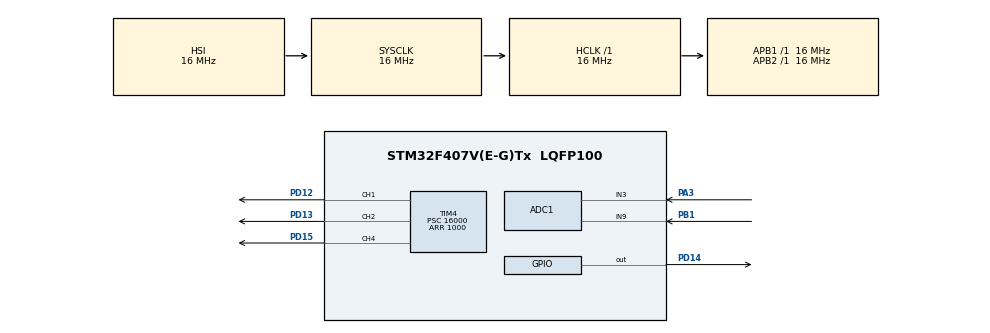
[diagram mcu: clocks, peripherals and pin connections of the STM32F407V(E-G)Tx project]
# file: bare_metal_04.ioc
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ADC1.Channel-0\#ChannelRegularConversion=ADC_CHANNEL_3
ADC1.Channel-5\#ChannelRegularConversion=ADC_CHANNEL_9
ADC1.Channel-6\#ChannelRegularConversion=ADC_CHANNEL_TEMPSENSOR
ADC1.ClockPrescaler=ADC_CLOCK_SYNC_PCLK_DIV8
ADC1.ContinuousConvMode=ENABLE
ADC1.DMAContinuousRequests=ENABLE
ADC1.EOCSelection=ADC_EOC_SEQ_CONV
ADC1.NbrOfConversion=3
ADC1.NbrOfConversionFlag=1
ADC1.Rank-0\#ChannelRegularConversion=1
ADC1.Rank-5\#ChannelRegularConversion=2
ADC1.Rank-6\#ChannelRegularConversion=3
ADC1.SamplingTime-0\#ChannelRegularConversion=ADC_SAMPLETIME_480CYCLES
ADC1.SamplingTime-5\#ChannelRegularConversion=ADC_SAMPLETIME_480CYCLES
ADC1.SamplingTime-6\#ChannelRegularConversion=ADC_SAMPLETIME_480CYCLES
ADC1.master=1
Dma.ADC1.0.Direction=DMA_PERIPH_TO_MEMORY
Dma.ADC1.0.FIFOMode=DMA_FIFOMODE_DISABLE
Dma.ADC1.0.Instance=DMA2_Stream0
Dma.ADC1.0.MemDataAlignment=DMA_MDATAALIGN_WORD
Dma.ADC1.0.MemInc=DMA_MINC_ENABLE
Dma.ADC1.0.Mode=DMA_CIRCULAR
Dma.ADC1.0.PeriphDataAlignment=DMA_PDATAALIGN_WORD
Dma.ADC1.0.PeriphInc=DMA_PINC_DISABLE
Dma.ADC1.0.Priority=DMA_PRIORITY_LOW
Dma.Request0=ADC1
Mcu.Family=STM32F4
Mcu.Name=STM32F407V(E-G)Tx
Mcu.Package=LQFP100
NVIC.ADC_IRQn=true\:0\:0\:false\:false\:true\:true\:true\:true
NVIC.DMA2_Stream0_IRQn=true\:0\:0\:false\:false\:true\:false\:true\:true
NVIC.PriorityGroup=NVIC_PRIORITYGROUP_4
PA3.Signal=ADCx_IN3
PB1.Signal=ADCx_IN9
PD12.Signal=S_TIM4_CH1
PD13.Signal=S_TIM4_CH2
PD14.Signal=GPIO_Output
PD15.Signal=S_TIM4_CH4
ProjectManager.HeapSize=0x200
ProjectManager.StackSize=0x400
ProjectManager.TargetToolchain=STM32CubeIDE
RCC.AHBFreq_Value=16000000
RCC.APB1Freq_Value=16000000
RCC.APB2Freq_Value=16000000
RCC.CortexFreq_Value=16000000
RCC.HSE_VALUE=25000000
RCC.HSI_VALUE=16000000
RCC.LSE_VALUE=32768
RCC.SYSCLKFreq_VALUE=16000000
RCC.VCOOutputFreq_Value=192000000
SH.ADCx_IN3.0=ADC1_IN3,IN3
SH.ADCx_IN9.0=ADC1_IN9,IN9
SH.S_TIM4_CH1.0=TIM4_CH1,PWM Generation1 CH1
SH.S_TIM4_CH2.0=TIM4_CH2,PWM Generation2 CH2
SH.S_TIM4_CH4.0=TIM4_CH4,PWM Generation4 CH4
TIM4.AutoReloadPreload=TIM_AUTORELOAD_PRELOAD_ENABLE
TIM4.Channel-PWM\ Generation1\ CH1=TIM_CHANNEL_1
TIM4.Channel-PWM\ Generation2\ CH2=TIM_CHANNEL_2
TIM4.Channel-PWM\ Generation4\ CH4=TIM_CHANNEL_4
TIM4.Period=1000
TIM4.Prescaler=16000
VP_ADC1_TempSens_Input.Mode=IN-TempSens
VP_TIM4_VS_ClockSourceINT.Mode=Internal
board=custom

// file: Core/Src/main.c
/* USER CODE BEGIN Header */
/**
  ******************************************************************************
  * @file           : main.c
  * @brief          : Main program body
  ******************************************************************************
  * @attention
  *
  * Copyright (c) 2023 STMicroelectronics.
  * All rights reserved.
  *
  * This software is licensed under terms that can be found in the LICENSE file
  * in the root directory of this software component.
  * If no LICENSE file comes with this software, it is provided AS-IS.
  *
  ******************************************************************************
  */
/* USER CODE END Header */
#include "main.h"

/* USER CODE BEGIN Includes */
#include "app_data.h"
/* USER CODE END Includes */

ADC_HandleTypeDef hadc1;
DMA_HandleTypeDef hdma_adc1;

TIM_HandleTypeDef htim4;

void SystemClock_Config(void);
static void MX_GPIO_Init(void);
static void MX_DMA_Init(void);
static void MX_ADC1_Init(void);
static void MX_TIM4_Init(void);
/* USER CODE BEGIN PFP */
static void HandleRedLed(uint32_t emergencies_amnt, const uint32_t* states);
/* USER CODE END PFP */

int main(void)
{

  /* MCU Configuration--------------------------------------------------------*/

  /* Reset of all peripherals, Initializes the Flash interface and the Systick. */
  HAL_Init();

  /* Configure the system clock */
  SystemClock_Config();

  /* Initialize all configured peripherals */
  MX_GPIO_Init();
  MX_DMA_Init();
  MX_ADC1_Init();
  MX_TIM4_Init();

  /* Infinite loop */
  /* USER CODE BEGIN WHILE */
  HAL_TIM_PWM_Start(&htim4, TIM_CHANNEL_1);
  HAL_TIM_PWM_Start(&htim4, TIM_CHANNEL_2);
  HAL_TIM_PWM_Start(&htim4, TIM_CHANNEL_4);
  HAL_ADC_Start_DMA(&hadc1, (uint32_t*)adc_values, adc_values_amount);

  while (1)
  {
	  HandleRedLed(current_emergencies_amnt, red_led_freq_states);
    /* USER CODE END WHILE */

  }
}

void SystemClock_Config(void)
{
  RCC_OscInitTypeDef RCC_OscInitStruct = {0};
  RCC_ClkInitTypeDef RCC_ClkInitStruct = {0};

  /** Configure the main internal regulator output voltage
  */
  __HAL_RCC_PWR_CLK_ENABLE();
  __HAL_PWR_VOLTAGESCALING_CONFIG(PWR_REGULATOR_VOLTAGE_SCALE1);

  /** Initializes the RCC Oscillators according to the specified parameters
  * in the RCC_OscInitTypeDef structure.
  */
  RCC_OscInitStruct.OscillatorType = RCC_OSCILLATORTYPE_HSI;
  RCC_OscInitStruct.HSIState = RCC_HSI_ON;
  RCC_OscInitStruct.HSICalibrationValue = RCC_HSICALIBRATION_DEFAULT;
  RCC_OscInitStruct.PLL.PLLState = RCC_PLL_NONE;
  if (HAL_RCC_OscConfig(&RCC_OscInitStruct) != HAL_OK)
  {
    Error_Handler();
  }

  /** Initializes the CPU, AHB and APB buses clocks
  */
  RCC_ClkInitStruct.ClockType = RCC_CLOCKTYPE_HCLK|RCC_CLOCKTYPE_SYSCLK
                              |RCC_CLOCKTYPE_PCLK1|RCC_CLOCKTYPE_PCLK2;
  RCC_ClkInitStruct.SYSCLKSource = RCC_SYSCLKSOURCE_HSI;
  RCC_ClkInitStruct.AHBCLKDivider = RCC_SYSCLK_DIV1;
  RCC_ClkInitStruct.APB1CLKDivider = RCC_HCLK_DIV1;
  RCC_ClkInitStruct.APB2CLKDivider = RCC_HCLK_DIV1;

  if (HAL_RCC_ClockConfig(&RCC_ClkInitStruct, FLASH_LATENCY_0) != HAL_OK)
  {
    Error_Handler();
  }
}

static void MX_ADC1_Init(void)
{

  ADC_ChannelConfTypeDef sConfig = {0};

  /** Configure the global features of the ADC (Clock, Resolution, Data Alignment and number of conversion)
  */
  hadc1.Instance = ADC1;
  hadc1.Init.ClockPrescaler = ADC_CLOCK_SYNC_PCLK_DIV8;
  hadc1.Init.Resolution = ADC_RESOLUTION_12B;
  hadc1.Init.ScanConvMode = ENABLE;
  hadc1.Init.ContinuousConvMode = ENABLE;
  hadc1.Init.DiscontinuousConvMode = DISABLE;
  hadc1.Init.ExternalTrigConvEdge = ADC_EXTERNALTRIGCONVEDGE_NONE;
  hadc1.Init.ExternalTrigConv = ADC_SOFTWARE_START;
  hadc1.Init.DataAlign = ADC_DATAALIGN_RIGHT;
  hadc1.Init.NbrOfConversion = 3;
  hadc1.Init.DMAContinuousRequests = ENABLE;
  hadc1.Init.EOCSelection = ADC_EOC_SEQ_CONV;
  if (HAL_ADC_Init(&hadc1) != HAL_OK)
  {
    Error_Handler();
  }

  /** Configure for the selected ADC regular channel its corresponding rank in the sequencer and its sample time.
  */
  sConfig.Channel = ADC_CHANNEL_3;
  sConfig.Rank = 1;
  sConfig.SamplingTime = ADC_SAMPLETIME_480CYCLES;
  if (HAL_ADC_ConfigChannel(&hadc1, &sConfig) != HAL_OK)
  {
    Error_Handler();
  }

  /** Configure for the selected ADC regular channel its corresponding rank in the sequencer and its sample time.
  */
  sConfig.Channel = ADC_CHANNEL_9;
  sConfig.Rank = 2;
  if (HAL_ADC_ConfigChannel(&hadc1, &sConfig) != HAL_OK)
  {
    Error_Handler();
  }

  /** Configure for the selected ADC regular channel its corresponding rank in the sequencer and its sample time.
  */
  sConfig.Channel = ADC_CHANNEL_TEMPSENSOR;
  sConfig.Rank = 3;
  if (HAL_ADC_ConfigChannel(&hadc1, &sConfig) != HAL_OK)
  {
    Error_Handler();
  }

}

static void MX_TIM4_Init(void)
{

  TIM_ClockConfigTypeDef sClockSourceConfig = {0};
  TIM_MasterConfigTypeDef sMasterConfig = {0};
  TIM_OC_InitTypeDef sConfigOC = {0};

  htim4.Instance = TIM4;
  htim4.Init.Prescaler = 16000;
  htim4.Init.CounterMode = TIM_COUNTERMODE_UP;
  htim4.Init.Period = 1000;
  htim4.Init.ClockDivision = TIM_CLOCKDIVISION_DIV1;
  htim4.Init.AutoReloadPreload = TIM_AUTORELOAD_PRELOAD_ENABLE;
  if (HAL_TIM_Base_Init(&htim4) != HAL_OK)
  {
    Error_Handler();
  }
  sClockSourceConfig.ClockSource = TIM_CLOCKSOURCE_INTERNAL;
  if (HAL_TIM_ConfigClockSource(&htim4, &sClockSourceConfig) != HAL_OK)
  {
    Error_Handler();
  }
  if (HAL_TIM_PWM_Init(&htim4) != HAL_OK)
  {
    Error_Handler();
  }
  sMasterConfig.MasterOutputTrigger = TIM_TRGO_RESET;
  sMasterConfig.MasterSlaveMode = TIM_MASTERSLAVEMODE_DISABLE;
  if (HAL_TIMEx_MasterConfigSynchronization(&htim4, &sMasterConfig) != HAL_OK)
  {
    Error_Handler();
  }
  sConfigOC.OCMode = TIM_OCMODE_PWM1;
  sConfigOC.Pulse = 0;
  sConfigOC.OCPolarity = TIM_OCPOLARITY_HIGH;
  sConfigOC.OCFastMode = TIM_OCFAST_DISABLE;
  if (HAL_TIM_PWM_ConfigChannel(&htim4, &sConfigOC, TIM_CHANNEL_1) != HAL_OK)
  {
    Error_Handler();
  }
  if (HAL_TIM_PWM_ConfigChannel(&htim4, &sConfigOC, TIM_CHANNEL_2) != HAL_OK)
  {
    Error_Handler();
  }
  if (HAL_TIM_PWM_ConfigChannel(&htim4, &sConfigOC, TIM_CHANNEL_4) != HAL_OK)
  {
    Error_Handler();
  }
  HAL_TIM_MspPostInit(&htim4);

}

static void MX_DMA_Init(void)
{

  /* DMA controller clock enable */
  __HAL_RCC_DMA2_CLK_ENABLE();

  /* DMA interrupt init */
  /* DMA2_Stream0_IRQn interrupt configuration */
  HAL_NVIC_SetPriority(DMA2_Stream0_IRQn, 0, 0);
  HAL_NVIC_EnableIRQ(DMA2_Stream0_IRQn);

}

static void MX_GPIO_Init(void)
{
  GPIO_InitTypeDef GPIO_InitStruct = {0};

  /* GPIO Ports Clock Enable */
  __HAL_RCC_GPIOA_CLK_ENABLE();
  __HAL_RCC_GPIOB_CLK_ENABLE();
  __HAL_RCC_GPIOD_CLK_ENABLE();

  /*Configure GPIO pin Output Level */
  HAL_GPIO_WritePin(GPIOD, GPIO_PIN_14, GPIO_PIN_RESET);

  /*Configure GPIO pin : PD14 */
  GPIO_InitStruct.Pin = GPIO_PIN_14;
  GPIO_InitStruct.Mode = GPIO_MODE_OUTPUT_PP;
  GPIO_InitStruct.Pull = GPIO_NOPULL;
  GPIO_InitStruct.Speed = GPIO_SPEED_FREQ_LOW;
  HAL_GPIO_Init(GPIOD, &GPIO_InitStruct);

}

/* USER CODE BEGIN 4 */
void HAL_ADC_ConvCpltCallback(ADC_HandleTypeDef* hadc) {
	UpdateEmergencies((uint32_t*) adc_values, (Emergencies*) &emergencies, (uint32_t*) &current_emergencies_amnt);
	TIM4->CCR4 = emergencies.VoltageIsHigh ? URGENT_LED_DURATION : STANDART_LED_DURATION;
	TIM4->CCR2 = emergencies.InTempIsHigh ? URGENT_LED_DURATION : STANDART_LED_DURATION;
	TIM4->CCR1 = emergencies.ExTempIsHigh ? URGENT_LED_DURATION : STANDART_LED_DURATION;
}

static void HandleRedLed(uint32_t emergencies_amnt, const uint32_t* states) {
	if(emergencies_amnt)
	{
	  HAL_Delay(500 / states[emergencies_amnt - 1]);
	  HAL_GPIO_TogglePin(GPIOD, GPIO_PIN_14);
	}
	else
	{
	  HAL_GPIO_WritePin(GPIOD, GPIO_PIN_14, GPIO_PIN_RESET);
	}
}
/* USER CODE END 4 */

void Error_Handler(void)
{
  __disable_irq();
  while (1)
  {
  }
}
